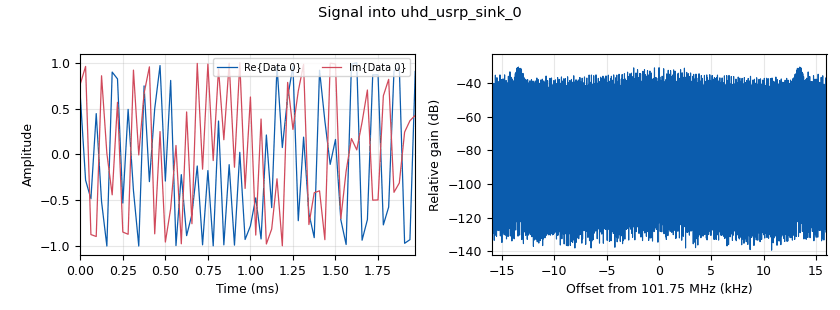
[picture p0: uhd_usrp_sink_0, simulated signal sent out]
options:
  parameters:
    author: Priyanshi
    generate_options: qt_gui
    id: happyy
    output_language: python
    title: Not titled yet
  states: {}

blocks:
- name: samp_rate
  id: variable
  parameters:
    value: '32000'
  states: {}
- name: analog_wfm_tx_0
  id: analog_wfm_tx
  parameters:
    audio_rate: samp_rate
    fh: '-1.0'
    max_dev: 75e3
    quad_rate: 4*samp_rate
    tau: '75e-6'
  states: {}
- name: blocks_repeat_0
  id: blocks_repeat
  parameters:
    interp: '12800'
    type: float
  states: {}
- name: blocks_vco_f_0
  id: blocks_vco_f
  parameters:
    amplitude: '1'
    samp_rate: '32000'
    sensitivity: '6.28'
  states: {}
- name: blocks_vector_source_x_0
  id: blocks_vector_source_x
  parameters:
    repeat: 'True'
    type: float
    vector: '(261.63, 261.63, 293.66, 293.66, 261.63, 261.63, 349.23, 349.23, 329.63, 329.63, 329.63, 261.63, 261.63, 293.66, 293.66, 261.63, 261.63, 392, 392, 349.23, 349.23, 349.23, 261.63, 261.63, 524, 440, 440, 349.34, 349.23, 329.63, 329.63, 466.16, 466.16, 349.23, 349.23, 392, 392, 349.23, 349.23, 349.32, 349.23) '
  states: {}
- name: uhd_usrp_sink_0
  id: uhd_usrp_sink
  parameters:
    ant0: TX/RX
    bw0: 150e3
    center_freq0: ' 101.75e6'
    dev_args: '""'
    gain0: '0'
    len_tag_name: ''
    norm_gain0: 'False'
    samp_rate: samp_rate
    sync: pc_clock
    type: fc32
  states: {}

connections:
- [analog_wfm_tx_0, '0', uhd_usrp_sink_0, '0']
- [blocks_repeat_0, '0', blocks_vco_f_0, '0']
- [blocks_vco_f_0, '0', analog_wfm_tx_0, '0']
- [blocks_vector_source_x_0, '0', blocks_repeat_0, '0']

metadata:
  file_format: 1
